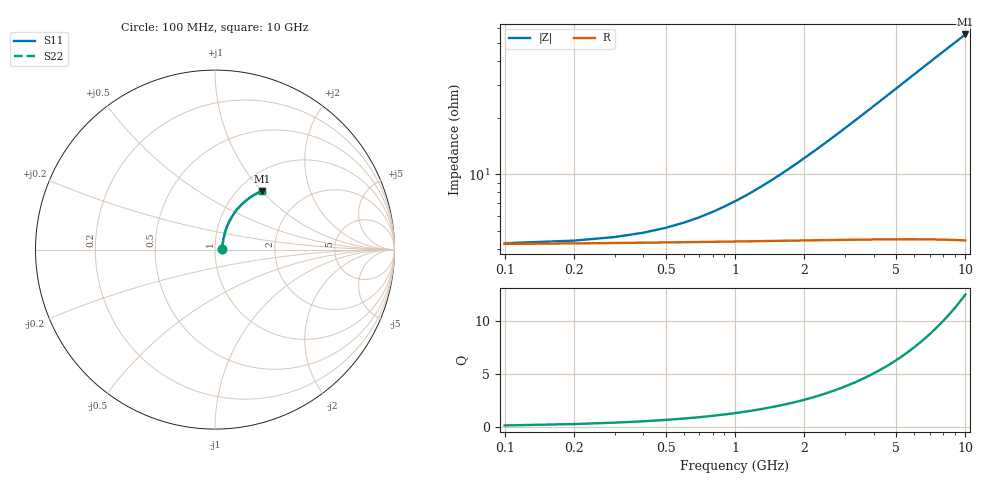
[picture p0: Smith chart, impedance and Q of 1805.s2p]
# Hz S RI R 50.00
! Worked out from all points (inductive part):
!   100 points, 100 MHz to 10 GHz, reference 50 ohm
!   read as one part in series: L = 902 pH near 2.4 GHz
!   highest Q = 12.5 at 10 GHz (marker M1), where L = 881 pH
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1e8  0.0408 0.00447  0.9592 -0.00599  0.9592 -0.00599  0.0408 0.00447
2e8  0.0412 0.00893  0.9588 -0.012  0.9588 -0.012  0.0412 0.00893
3e8  0.0415 0.0134  0.9585 -0.0179  0.9585 -0.0179  0.0415 0.0134
4e8  0.0418 0.0178  0.9581 -0.0239  0.9581 -0.0239  0.0418 0.0178
5e8  0.0422 0.0223  0.9577 -0.0299  0.9577 -0.0299  0.0422 0.0223
1.3e9  0.0469 0.0576  0.9529 -0.0773  0.9529 -0.0773  0.0469 0.0576
1.5e9  0.0486 0.0663  0.9512 -0.089  0.9512 -0.089  0.0486 0.0663
1.8e9  0.0514 0.0793  0.9482 -0.1066  0.9482 -0.1066  0.0514 0.0793
2.1e9  0.0548 0.0921  0.9447 -0.124  0.9447 -0.124  0.0548 0.0921
2.5e9  0.0599 0.1089  0.9393 -0.1469  0.9393 -0.1469  0.0599 0.1089
2.9e9  0.0659 0.1254  0.9331 -0.1694  0.9331 -0.1694  0.0659 0.1254
3.4e9  0.0743 0.1455  0.9243 -0.1971  0.9243 -0.1971  0.0743 0.1455
3.8e9  0.0819 0.161  0.9163 -0.2188  0.9163 -0.2188  0.0819 0.161
4.2e9  0.0902 0.1761  0.9077 -0.2399  0.9077 -0.2399  0.0902 0.1761
4.6e9  0.0991 0.1907  0.8983 -0.2606  0.8983 -0.2606  0.0991 0.1907
5.1e9  0.1111 0.2081  0.8857 -0.2857  0.8857 -0.2857  0.1111 0.2081
5.9e9  0.1322 0.2341  0.8636 -0.3239  0.8636 -0.3239  0.1322 0.2341
6.7e9  0.1551 0.2576  0.8395 -0.3597  0.8395 -0.3597  0.1551 0.2576
7.5e9  0.1796 0.2784  0.8136 -0.3929  0.8136 -0.3929  0.1796 0.2784
8.4e9  0.2086 0.2987  0.7829 -0.4272  0.7829 -0.4272  0.2086 0.2987
9.2e9  0.2352 0.314  0.7545 -0.4548  0.7545 -0.4548  0.2352 0.314
1e10  0.2624 0.3265  0.7254 -0.4799  0.7254 -0.4799  0.2624 0.3265
